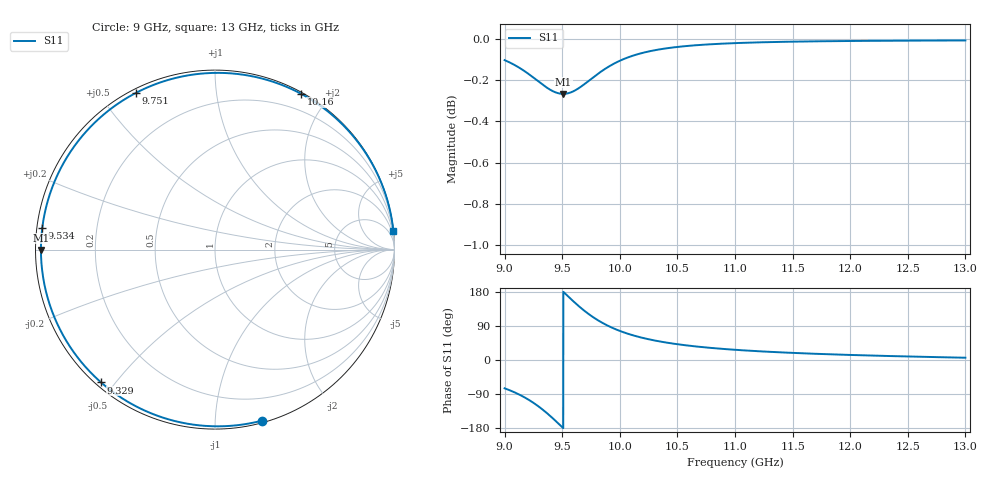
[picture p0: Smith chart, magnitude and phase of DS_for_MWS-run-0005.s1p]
! TOUCHSTONE file generated by CST DESIGN STUDIO
! Date and time: Tue Feb  4 18:02:04 2025
! Project name: C:\Work\MatlabApps\UnitCellOptimizationMatlab\CST\unitcell.cst
! Tree item: Tasks\Sweep1\SPara1\S-Parameters
! Header version: 2024
! Port assignment regex: !\s*Touchstone port\s*([0-9]+)\s*=\s*(CST MWS port|CST DES external port|CST DES block port)\s*(.+)\s* \(\"(.*)\"\)(\s*mode\s*([0-9]+))?.*
! Touchstone port assignment:
! Touchstone port 1 = CST DES external port 1 ("")
# GHz S MA R 50
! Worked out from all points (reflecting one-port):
!   4001 points, 9 GHz to 13 GHz, reference 50 ohm
!   lowest |S11| = -0.3 dB at 9.509 GHz (marker M1), VSWR 65.34, Z = 0.765 - j0.0563 ohm
!   phase of S11 starts at -75 deg and turns -279 deg over the sweep
!   S11 on the Smith chart (normalised r, x): 9 GHz: 0.02, -1.31; 9.329 GHz: 0.02, -0.46; 9.534 GHz: 0.02, +0.06; 9.751 GHz: 0.02, +0.62; 10.16 GHz: 0.02, +1.70; 13 GHz: 0, +19
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9  0.9883 -74.7
9.087  0.9856 -85.5
9.19  0.9815 -101.5
9.262  0.9782 -115.5
9.329  0.9749 -130.6
9.375  0.9729 -142.2
9.423  0.9712 -155.2
9.462  0.9703 -166.2
9.5  0.9699 -177.2
9.509  0.9699 -179.9
9.534  0.97 172.8
9.588  0.971 157.4
9.648  0.9731 141.1
9.699  0.9754 128.4
9.751  0.978 116.6
9.803  0.9805 106.2
9.859  0.983 96.3
10  0.988 76.8
10.079  0.99 68.4
10.164  0.9918 61.0
10.317  0.994 50.6
10.5  0.9957 41.6
10.722  0.9969 33.9
11  0.9978 26.9
11.5  0.9986 18.8
12  0.999 13.3
12.5  0.9992 9.3
13  0.9993 6.0
